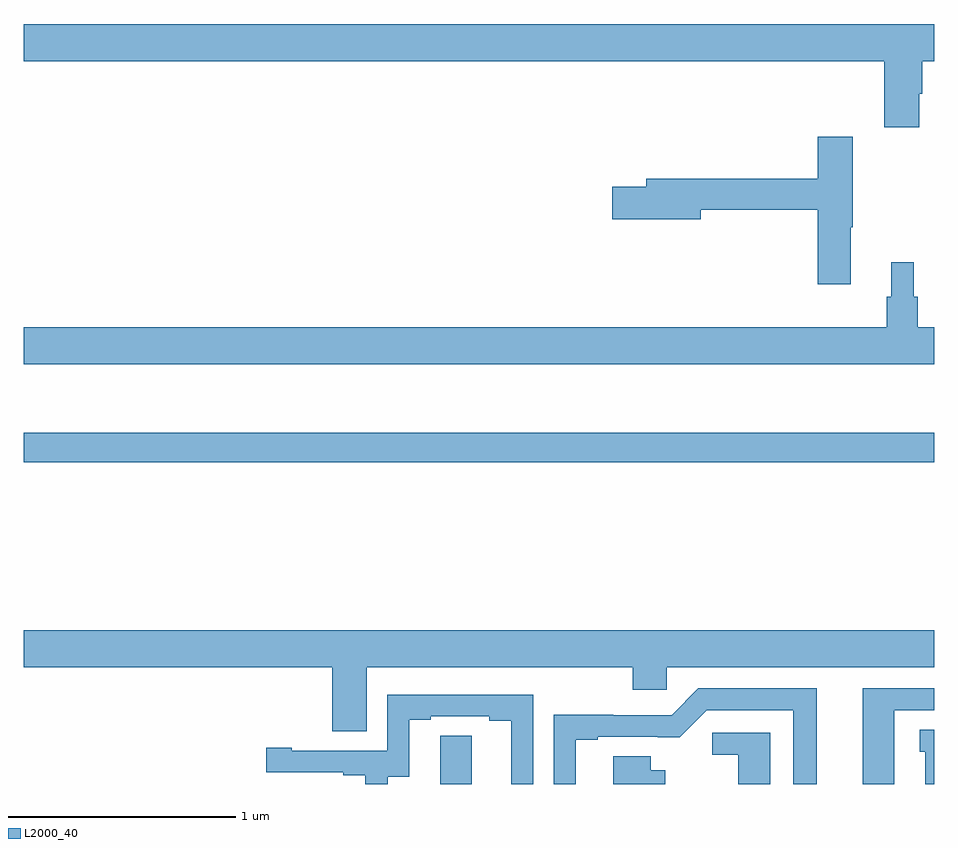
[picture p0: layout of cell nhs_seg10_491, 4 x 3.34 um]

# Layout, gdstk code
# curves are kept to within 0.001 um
import gdstk
lib = gdstk.Library(unit=1e-6, precision=1e-09)
def R(c, l, rs):  # rectangles x0, y0, x1, y1
    for r in rs: c.add(gdstk.rectangle(r[:2], r[2:], *l))
def P(c, l, *ps):  # polygons
    for p in ps: c.add(gdstk.Polygon(p, *l))
L2000_40 = (2000, 40)

nhs_seg10_491 = lib.new_cell('nhs_seg10_491')
R(nhs_seg10_491, L2000_40, [(135,1271.914,139,1272.043)])
P(nhs_seg10_491, L2000_40, [(138.934,1273.534),(138.947,1273.534),(138.947,1273.676),(139,1273.676),(139,1273.84),(135,1273.84),(135,1273.676),(138.782,1273.676),(138.782,1273.386),(138.934,1273.386)],
  [(138.634,1272.947),(138.642,1272.947),(138.642,1273.345),(138.488,1273.345),(138.488,1273.16),(137.735,1273.16),(137.735,1273.124),(137.586,1273.124),(137.586,1272.982),(137.974,1272.982),(137.974,1273.024),(138.488,1273.024),(138.488,1272.696),(138.634,1272.696)],
  [(139,1272.508),(138.929,1272.508),(138.929,1272.642),(138.91,1272.642),(138.91,1272.793),(138.812,1272.793),(138.812,1272.642),(138.793,1272.642),(138.793,1272.508),(135,1272.508),(135,1272.344),(139,1272.344)],
  [(136.507,1271.012),(137.675,1271.012),(137.675,1270.914),(137.826,1270.914),(137.826,1271.012),(139,1271.012),(139,1271.176),(135,1271.176),(135,1271.012),(136.355,1271.012),(136.355,1270.732),(136.507,1270.732)],
  [(137.425,1270.695),(137.521,1270.695),(137.521,1270.707),(137.882,1270.706),(138,1270.824),(138.38,1270.824),(138.38,1270.5),(138.484,1270.5),(138.484,1270.92),(137.964,1270.92),(137.847,1270.803),(137.591,1270.803),(137.591,1270.805),(137.328,1270.805),(137.328,1270.5),(137.425,1270.5)],
  [(138.826,1270.824),(139,1270.824),(139,1270.92),(138.686,1270.92),(138.686,1270.5),(138.826,1270.5)],
  [(136.599,1270.531),(136.693,1270.531),(136.693,1270.782),(136.789,1270.782),(136.789,1270.797),(137.045,1270.797),(137.045,1270.777),(137.141,1270.777),(137.141,1270.5),(137.238,1270.5),(137.238,1270.893),(136.596,1270.893),(136.596,1270.647),(136.177,1270.647),(136.177,1270.66),(136.065,1270.66),(136.065,1270.551),(136.403,1270.551),(136.403,1270.539),(136.499,1270.539),(136.499,1270.5),(136.599,1270.5)],
  [(139,1270.739),(138.938,1270.739),(138.938,1270.641),(138.962,1270.641),(138.962,1270.5),(139,1270.5)],
  [(138.28,1270.725),(138.024,1270.725),(138.024,1270.628),(138.14,1270.628),(138.14,1270.5),(138.28,1270.5)],
  [(136.969,1270.712),(136.83,1270.712),(136.83,1270.604),(136.829,1270.604),(136.829,1270.5),(136.969,1270.5)],
  [(137.818,1270.561),(137.755,1270.561),(137.755,1270.622),(137.591,1270.622),(137.591,1270.5),(137.818,1270.5)])

lib.write_gds('nhs_seg10_491.gds')
